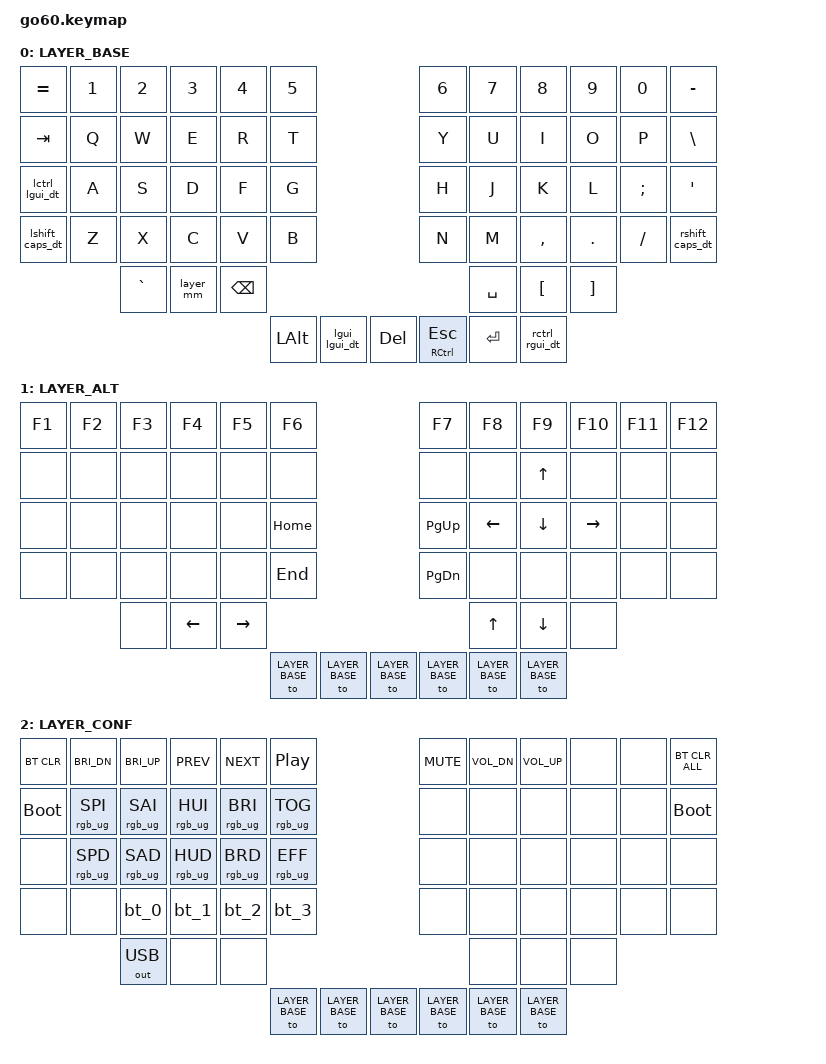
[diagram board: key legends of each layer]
/*
 * Copyright (c) 2020 The ZMK Contributors
 *
 * SPDX-License-Identifier: MIT
 */

#include <behaviors.dtsi>

#include <dt-bindings/zmk/bt.h>
#include <dt-bindings/zmk/ext_power.h>
#include <dt-bindings/zmk/keys.h>
#include <dt-bindings/zmk/outputs.h>
#include <dt-bindings/zmk/rgb.h>
#include <dt-bindings/zmk/input_transform.h>
#include <dt-bindings/zmk/pointing.h>

#include <input/processors.dtsi>
#include <zephyr/dt-bindings/input/input-event-codes.h>

// layers
#define LAYER_BASE 0
#define LAYER_ALT  1
#define LAYER_CONF 2

#define EXIT_L &to LAYER_BASE

/ {
    input_processors {
        zip_click_to_right_click_mapper: zip_click_to_right_click_mapper {
            compatible = "zmk,input-processor-code-mapper";
            #input-processor-cells = <0>;
            type = <INPUT_EV_KEY>;
            map = <INPUT_BTN_0 INPUT_BTN_1>;
        };
    };

    behaviors {
        layer_alt_td: layer_alt_td {
            compatible = "zmk,behavior-tap-dance";
            #binding-cells = <0>;
            bindings = <&mo LAYER_ALT>, <&to LAYER_ALT>;
        };

        layer_conf_mm: layer_conf_mm {
            compatible = "zmk,behavior-mod-morph";
            #binding-cells = <0>;
            bindings = <&rgb_ug_status_macro>, <&to LAYER_CONF>;
            mods = <(MOD_LCTL|MOD_RCTL)>;
        };

        layer_mm: layer_mm {
            compatible = "zmk,behavior-mod-morph";
            #binding-cells = <0>;
            bindings = <&layer_alt_td>, <&layer_conf_mm>;
            mods = <(MOD_LSFT|MOD_RSFT)>;
        };

        lgui_lgui_dt: lgui_lgui_dt {
            compatible = "zmk,behavior-tap-dance";
            #binding-cells = <0>;
            tapping-term-ms = <200>;
            bindings = <&kp LGUI>, <&sk LGUI>;
        };

        lctrl_lgui_dt: ctrl_lgui_dt {
            compatible = "zmk,behavior-tap-dance";
            #binding-cells = <0>;
            tapping-term-ms = <200>;
            bindings = <&kp LCTRL>, <&sk LGUI>;
        };

        rctrl_rgui_dt: ctrl_rgui_dt {
            compatible = "zmk,behavior-tap-dance";
            #binding-cells = <0>;
            tapping-term-ms = <200>;
            bindings = <&kp RCTRL>, <&sk RGUI>;
        };

        lshift_caps_dt: lshift_caps_dt {
            compatible = "zmk,behavior-tap-dance";
            #binding-cells = <0>;
            tapping-term-ms = <200>;
            bindings = <&kp LSHIFT>, <&kp CAPS>;
        };

        rshift_caps_dt: rshift_caps_dt {
            compatible = "zmk,behavior-tap-dance";
            #binding-cells = <0>;
            tapping-term-ms = <200>;
            bindings = <&kp RSHIFT>, <&kp CAPS>;
        };

        bt_0: bt_0 {
            compatible = "zmk,behavior-tap-dance";
            #binding-cells = <0>;
            tapping-term-ms = <200>;
            bindings = <&bt_select_0>, <&bt BT_DISC 0>;
        };
        bt_1: bt_1 {
            compatible = "zmk,behavior-tap-dance";
            #binding-cells = <0>;
            tapping-term-ms = <200>;
            bindings = <&bt_select_1>, <&bt BT_DISC 1>;
        };
        bt_2: bt_2 {
            compatible = "zmk,behavior-tap-dance";
            #binding-cells = <0>;
            tapping-term-ms = <200>;
            bindings = <&bt_select_2>, <&bt BT_DISC 2>;
        };
        bt_3: bt_3 {
            compatible = "zmk,behavior-tap-dance";
            #binding-cells = <0>;
            tapping-term-ms = <200>;
            bindings = <&bt_select_3>, <&bt BT_DISC 3>;
        };
    };

    macros {
        rgb_ug_status_macro: rgb_ug_status_macro {
            compatible = "zmk,behavior-macro";
            #binding-cells = <0>;
            bindings = <&rgb_ug RGB_STATUS>;
        };

        bt_select_0: bt_select_0 {
            compatible = "zmk,behavior-macro";
            #binding-cells = <0>;
            bindings
                = <&out OUT_BLE>,
                  <&bt BT_SEL 0>;
        };
        bt_select_1: bt_select_1 {
            compatible = "zmk,behavior-macro";
            #binding-cells = <0>;
            bindings
                = <&out OUT_BLE>,
                  <&bt BT_SEL 1>;
        };
        bt_select_2: bt_select_2 {
            compatible = "zmk,behavior-macro";
            #binding-cells = <0>;
            bindings
                = <&out OUT_BLE>,
                  <&bt BT_SEL 2>;
        };
        bt_select_3: bt_select_3 {
            compatible = "zmk,behavior-macro";
            #binding-cells = <0>;
            bindings
                = <&out OUT_BLE>,
                  <&bt BT_SEL 3>;
        };
    };

    keymap {
        compatible = "zmk,keymap";
        LAYER_BASE {
            bindings = <
                &kp EQUAL        &kp N1  &kp N2     &kp N3     &kp N4    &kp N5                                                      &kp N6     &kp N7     &kp N8     &kp N9    &kp N0    &kp MINUS
                &kp TAB          &kp Q   &kp W      &kp E      &kp R     &kp T                                                       &kp Y      &kp U      &kp I      &kp O     &kp P     &kp BSLH
                &lctrl_lgui_dt   &kp A   &kp S      &kp D      &kp F     &kp G                                                       &kp H      &kp J      &kp K      &kp L     &kp SEMI  &kp SQT
                &lshift_caps_dt  &kp Z   &kp X      &kp C      &kp V     &kp B                                                       &kp N      &kp M      &kp COMMA  &kp DOT   &kp FSLH  &rshift_caps_dt
                                         &kp GRAVE  &layer_mm  &kp BSPC                                                                         &kp SPACE  &kp LBKT   &kp RBKT
                                                                         &kp LALT  &lgui_lgui_dt  &kp DEL    &mt RCTRL ESC  &kp RET  &rctrl_rgui_dt
            >;
        };

        LAYER_ALT {
            bindings = <
                &kp F1  &kp F2  &kp F3  &kp F4    &kp F5     &kp F6                                    &kp F7     &kp F8     &kp F9    &kp F10    &kp F11  &kp F12
                &none   &none   &none   &none     &none      &none                                     &none      &none      &kp UP    &none      &none    &none
                &none   &none   &none   &none     &none      &kp HOME                                  &kp PG_UP  &kp LEFT   &kp DOWN  &kp RIGHT  &none    &none
                &none   &none   &none   &none     &none      &kp END                                   &kp PG_DN  &none      &none     &none      &none    &none
                                &none   &kp LEFT  &kp RIGHT                                                       &kp UP     &kp DOWN  &none
                                                             EXIT_L  EXIT_L  EXIT_L    EXIT_L  EXIT_L  EXIT_L
            >;
        };

        LAYER_CONF {
            bindings = <
                &bt BT_CLR   &kp C_BRI_DN     &kp C_BRI_UP     &kp C_PREV       &kp C_NEXT       &kp C_PP                                            &kp C_MUTE  &kp C_VOL_DN  &kp C_VOL_UP  &none  &none  &bt BT_CLR_ALL
                &bootloader  &rgb_ug RGB_SPI  &rgb_ug RGB_SAI  &rgb_ug RGB_HUI  &rgb_ug RGB_BRI  &rgb_ug RGB_TOG                                     &none       &none         &none         &none  &none  &bootloader
                &none        &rgb_ug RGB_SPD  &rgb_ug RGB_SAD  &rgb_ug RGB_HUD  &rgb_ug RGB_BRD  &rgb_ug RGB_EFF                                     &none       &none         &none         &none  &none  &none
                &none        &none            &bt_0            &bt_1            &bt_2            &bt_3                                               &none       &none         &none         &none  &none  &none
                                              &out OUT_USB     &none            &none                                                                            &none         &none         &none
                                                                                                 EXIT_L            EXIT_L  EXIT_L    EXIT_L  EXIT_L  EXIT_L
            >;
        };

    };
};

&cirque_rh_listener {
    input-processors = <&zip_xy_scaler 2 1>;
    layer_alt {
        layers = <LAYER_ALT>;
        input-processors = <&zip_xy_scaler 4 1>;
    };
};

&cirque_lh_listener {
    input-processors = <&zip_xy_scaler 1 16>, <&zip_xy_transform (INPUT_TRANSFORM_Y_INVERT)>, <&zip_xy_to_scroll_mapper>, <&zip_click_to_right_click_mapper>;
    layer_alt {
        layers = <LAYER_ALT>;
        input-processors = <&zip_xy_scaler 1 8>, <&zip_xy_transform (INPUT_TRANSFORM_Y_INVERT)>, <&zip_xy_to_scroll_mapper>, <&zip_click_to_right_click_mapper>;
    };
};
